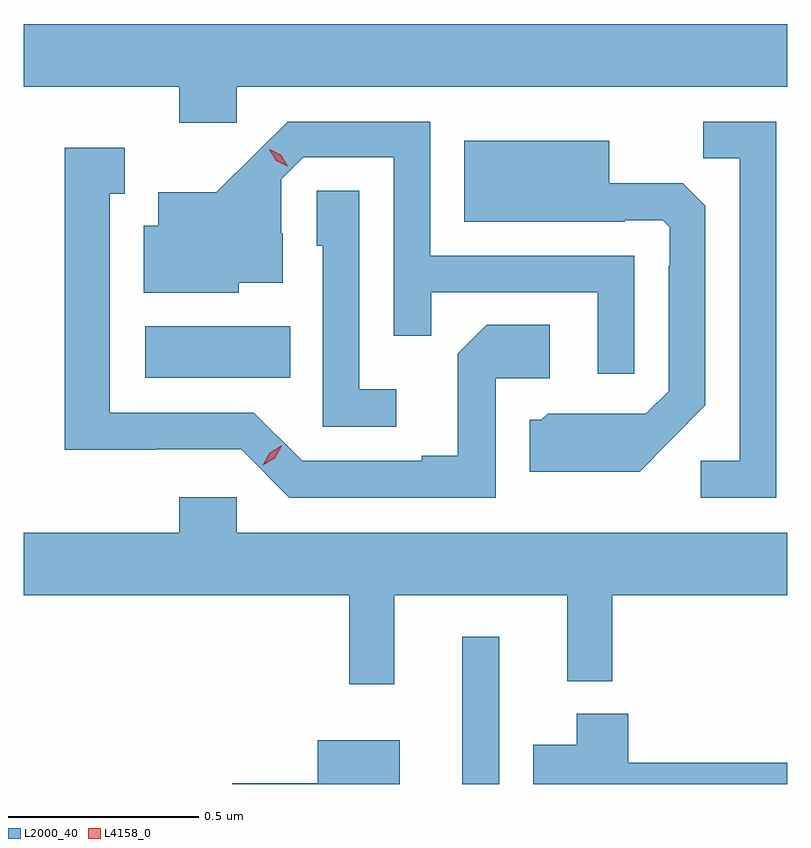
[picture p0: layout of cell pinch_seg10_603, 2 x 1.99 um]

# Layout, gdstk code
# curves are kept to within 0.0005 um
import gdstk
lib = gdstk.Library(unit=1e-6, precision=1e-09)
def R(c, l, rs):  # rectangles x0, y0, x1, y1
    for r in rs: c.add(gdstk.rectangle(r[:2], r[2:], *l))
def P(c, l, *ps):  # polygons
    for p in ps: c.add(gdstk.Polygon(p, *l))
L2000_40 = (2000, 40)
L4158_0 = (4158, 0)

pinch_seg10_603 = lib.new_cell('pinch_seg10_603')
R(pinch_seg10_603, L2000_40, [(354.878,1271.85,354.975,1272.235), (354.048,1272.914,354.428,1273.048)])
P(pinch_seg10_603, L2000_40, [(354.288,1273.676),(355.73,1273.676),(355.73,1273.84),(353.73,1273.84),(353.73,1273.676),(354.137,1273.676),(354.137,1273.581),(354.288,1273.581)],
  [(355.329,1273.233),(354.795,1273.233),(354.795,1273.584),(354.422,1273.584),(354.235,1273.399),(354.083,1273.399),(354.083,1273.312),(354.044,1273.312),(354.044,1273.136),(354.294,1273.136),(354.294,1273.163),(354.409,1273.163),(354.409,1273.292),(354.405,1273.292),(354.405,1273.434),(354.462,1273.491),(354.699,1273.491),(354.699,1273.024),(354.797,1273.024),(354.797,1273.137),(355.233,1273.137),(355.233,1272.924),(355.329,1272.924)],
  [(355.701,1273.584),(355.51,1273.584),(355.51,1273.489),(355.605,1273.489),(355.605,1272.696),(355.503,1272.696),(355.503,1272.6),(355.701,1272.6)],
  [(355.423,1272.749),(355.515,1272.842),(355.515,1273.364),(355.456,1273.423),(355.264,1273.423),(355.264,1273.534),(354.884,1273.534),(354.884,1273.322),(355.304,1273.322),(355.304,1273.326),(355.404,1273.326),(355.422,1273.308),(355.422,1273.208),(355.419,1273.208),(355.419,1272.879),(355.359,1272.819),(355.236,1272.819),(355.236,1272.82),(355.102,1272.82),(355.086,1272.804),(355.055,1272.804),(355.055,1272.668),(355.343,1272.668)],
  [(354.966,1272.912),(355.108,1272.912),(355.108,1273.052),(354.943,1273.052),(354.867,1272.976),(354.867,1272.709),(354.773,1272.709),(354.773,1272.696),(354.459,1272.696),(354.333,1272.822),(353.956,1272.822),(353.956,1273.395),(353.995,1273.395),(353.995,1273.516),(353.838,1273.516),(353.838,1272.725),(354.078,1272.725),(354.078,1272.726),(354.3,1272.726),(354.426,1272.6),(354.966,1272.6)],
  [(354.706,1272.883),(354.609,1272.883),(354.609,1273.403),(354.498,1273.403),(354.498,1273.26),(354.513,1273.26),(354.513,1272.786),(354.706,1272.786)],
  [(354.701,1272.344),(355.154,1272.344),(355.154,1272.119),(355.271,1272.119),(355.271,1272.344),(355.73,1272.344),(355.73,1272.508),(354.288,1272.508),(354.288,1272.601),(354.137,1272.601),(354.137,1272.508),(353.73,1272.508),(353.73,1272.344),(354.583,1272.344),(354.583,1272.111),(354.701,1272.111)],
  [(355.73,1271.905),(355.313,1271.905),(355.313,1272.034),(355.178,1272.034),(355.178,1271.953),(355.064,1271.953),(355.064,1271.85),(355.73,1271.85)],
  [(354.715,1271.965),(354.5,1271.965),(354.5,1271.852),(354.276,1271.852),(354.276,1271.85),(354.715,1271.85)])
P(pinch_seg10_603, L4158_0, [(354.421,1273.467),(354.391,1273.482),(354.373,1273.512),(354.373,1273.512),(354.374,1273.512),(354.404,1273.497),(354.422,1273.468),(354.422,1273.467)],
  [(354.356,1272.684),(354.356,1272.684),(354.374,1272.717),(354.405,1272.736),(354.406,1272.736),(354.406,1272.736),(354.388,1272.703),(354.356,1272.684)])

lib.write_gds('pinch_seg10_603.gds')
